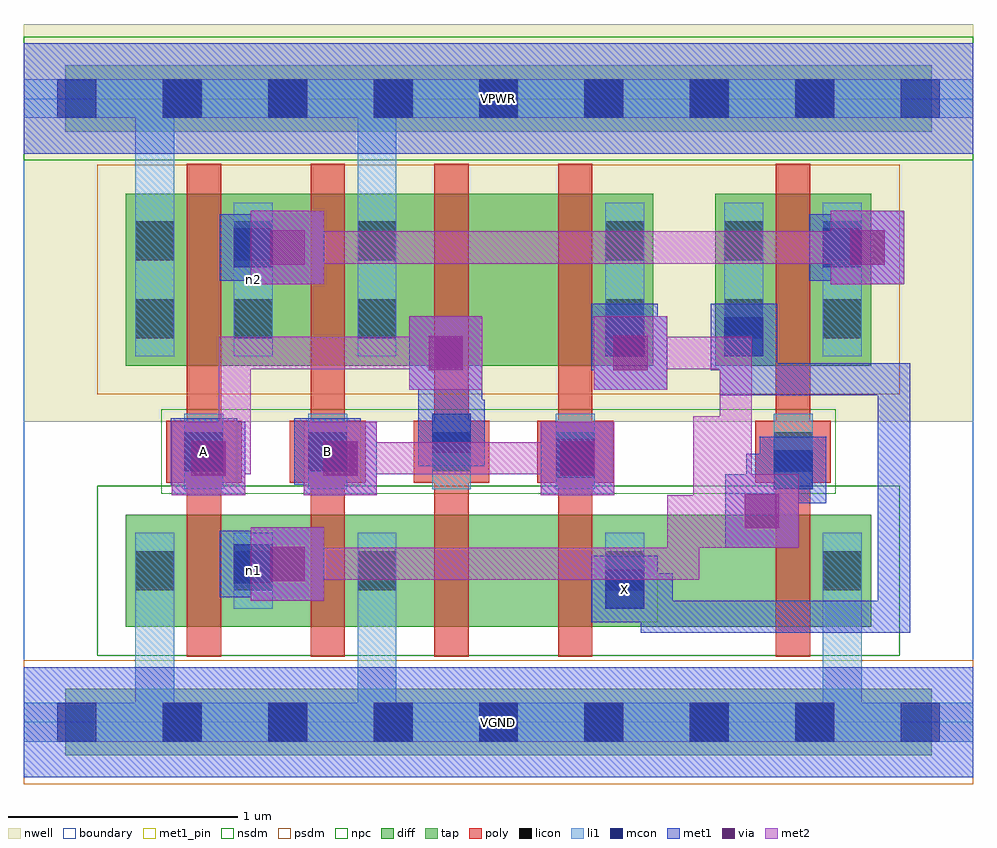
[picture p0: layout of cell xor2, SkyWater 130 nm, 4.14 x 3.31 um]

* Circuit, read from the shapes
.subckt xor2 A B VGND VPWR X n1 n2
XM1 n1 A VGND VGND sky130_fd_pr__nfet_01v8 w=0.49 l=0.15
XM2 VGND B n1 VGND sky130_fd_pr__nfet_01v8 w=0.49 l=0.15
XM3 n3 A VGND VGND sky130_fd_pr__nfet_01v8 w=0.49 l=0.15
XM4 X B n3 VGND sky130_fd_pr__nfet_01v8 w=0.49 l=0.15
XM5 VGND n1 X VGND sky130_fd_pr__nfet_01v8 w=0.49 l=0.15
XM6 n2 A VPWR VPWR sky130_fd_pr__pfet_01v8 w=0.75 l=0.15
XM7 VPWR B n2 VPWR sky130_fd_pr__pfet_01v8 w=0.75 l=0.15
XM8 n4 A VPWR VPWR sky130_fd_pr__pfet_01v8 w=0.75 l=0.15
XM9 n1 B n4 VPWR sky130_fd_pr__pfet_01v8 w=0.75 l=0.15
XM10 n2 n1 X VPWR sky130_fd_pr__pfet_01v8 w=0.75 l=0.15
.ends

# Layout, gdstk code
import gdstk
lib = gdstk.Library(unit=1e-6, precision=1e-09)
def R(c, l, rs):  # rectangles x0, y0, x1, y1
    for r in rs: c.add(gdstk.rectangle(r[:2], r[2:], *l))
def A(c, l, x, y, w, h, nx, ny, dx, dy):  # array of equal rectangles
    R(c, l, [(x+i*dx, y+j*dy, x+i*dx+w, y+j*dy+h) for i in range(nx) for j in range(ny)])
nwell = (64, 20)
diff = (65, 20)
tap = (65, 44)
poly = (66, 20)
licon = (66, 44)
li1 = (67, 20)
mcon = (67, 44)
met1_pin = (68, 16)
met1 = (68, 20)
via = (68, 44)
met2 = (69, 20)
nsdm = (93, 44)
psdm = (94, 20)
npc = (95, 20)
boundary = (235, 4)

xor2 = lib.new_cell('xor2')
R(xor2, nwell, [(0,1.31,4.14,3.045)])
R(xor2, diff, [(0.445,0.415,3.695,0.905), (0.445,1.555,2.745,2.305), (3.015,1.555,3.695,2.305)])
R(xor2, tap, [(0.18,-0.145,3.96,0.145), (0.18,2.575,3.96,2.865)])
A(xor2, poly, 0.71, 0.285, 0.15, 2.15, 4, 1, 0.54, 0)
A(xor2, poly, 0.62, 1.045, 0.33, 0.27, 4, 1, 0.54, 0)
R(xor2, poly, [(3.28,0.285,3.43,2.435), (3.19,1.045,3.52,1.315)])
A(xor2, licon, 0.605, -0.085, 0.17, 0.17, 7, 2, 0.46, 2.72)
A(xor2, licon, 0.7, 1.095, 0.17, 0.17, 4, 1, 0.54, 0)
R(xor2, licon, [(0.485,0.575,0.655,0.745), (0.915,0.575,1.085,0.745), (1.455,0.575,1.625,0.745), (2.535,0.575,2.705,0.745), (3.485,0.575,3.655,0.745), (3.27,1.095,3.44,1.265), (0.485,1.675,0.655,1.845), (0.915,1.675,1.085,1.845), (1.455,1.675,1.625,1.845), (2.535,1.675,2.705,1.845), (3.055,1.675,3.225,1.845), (3.485,1.675,3.655,1.845), (0.485,2.015,0.655,2.185), (0.915,2.015,1.085,2.185), (1.455,2.015,1.625,2.185), (2.535,2.015,2.705,2.185), (3.055,2.015,3.225,2.185), (3.485,2.015,3.655,2.185)])
A(xor2, li1, 0.7, 1.015, 0.17, 0.33, 4, 1, 0.54, 0)
R(xor2, li1, [(0,-0.085,4.14,0.085), (0.485,-0.085,0.655,0.825), (1.455,-0.085,1.625,0.825), (3.485,-0.085,3.655,0.825), (0.485,0.495,0.655,0.825), (0.915,0.495,1.085,0.825), (1.455,0.495,1.625,0.825), (2.535,0.495,2.705,0.825), (3.485,0.495,3.655,0.825), (3.27,1.015,3.44,1.345), (0.485,1.595,0.655,2.265), (0.485,1.595,0.655,2.805), (0.915,1.595,1.085,2.265), (1.455,1.595,1.625,2.265), (1.455,1.595,1.625,2.805), (2.535,1.595,2.705,2.265), (3.055,1.595,3.225,2.265), (3.485,1.595,3.655,2.265), (0,2.635,4.14,2.805)])
A(xor2, mcon, 0.145, -0.085, 0.17, 0.17, 9, 2, 0.46, 2.72)
R(xor2, mcon, [(2.535,0.495,2.705,0.665), (0.915,0.605,1.085,0.775), (3.27,1.015,3.44,1.185), (2.32,1.065,2.49,1.235), (0.7,1.095,0.87,1.265), (1.24,1.095,1.41,1.265), (1.78,1.175,1.95,1.345), (2.535,1.595,2.705,1.765), (3.055,1.595,3.225,1.765), (0.915,1.985,1.085,2.155), (3.485,1.985,3.655,2.155)])
R(xor2, met1_pin, [(0,-0.24,4.14,0.24), (2.475,0.435,2.765,0.725), (0.64,1.035,0.93,1.325), (1.18,1.035,1.47,1.325), (0,2.48,4.14,2.96)])
R(xor2, met1, [(0,-0.24,4.14,0.24), (2.69,0.39,2.83,0.65), (2.69,0.39,3.865,0.53), (3.725,0.39,3.865,1.565), (2.475,0.435,2.765,0.725), (2.55,0.51,2.83,0.65), (0.99,0.53,1.31,0.85), (0.855,0.545,1.145,0.835), (0.93,0.62,1.22,0.76), (3.06,0.76,3.38,1.08), (3.15,0.85,3.29,1.17), (3.21,0.955,3.5,1.245), (0.645,0.99,0.965,1.31), (1.22,0.99,1.54,1.31), (2.255,0.99,2.575,1.31), (2.26,1.005,2.55,1.295), (3.15,1.03,3.425,1.17), (0.64,1.035,0.93,1.325), (1.18,1.035,1.47,1.325), (0.735,1.08,0.875,1.22), (1.31,1.08,1.45,1.22), (2.335,1.08,2.485,1.22), (1.72,1.115,2.01,1.405), (1.77,1.19,1.935,1.33), (1.77,1.19,1.91,1.45), (1.77,1.31,1.91,1.68), (1.77,1.33,1.935,1.45), (1.72,1.405,2,1.45), (3.035,1.425,3.175,1.75), (3.035,1.425,3.865,1.565), (1.68,1.45,2,1.77), (2.485,1.45,2.805,1.77), (2.475,1.535,2.765,1.825), (2.995,1.535,3.285,1.825), (2.575,1.54,2.715,1.75), (2.55,1.61,2.715,1.75), (3.035,1.61,3.21,1.75), (0.99,1.91,1.31,2.23), (3.52,1.91,3.84,2.23), (0.855,1.925,1.145,2.215), (3.425,1.925,3.715,2.215), (0.93,2,1.22,2.14), (3.5,2,3.75,2.14), (0,2.48,4.14,2.96)])
R(xor2, via, [(1.075,0.615,1.225,0.765), (3.145,0.845,3.295,0.995), (0.73,1.075,0.88,1.225), (1.305,1.075,1.455,1.225), (2.34,1.075,2.49,1.225), (1.765,1.535,1.915,1.685), (2.57,1.535,2.72,1.685), (1.075,1.995,1.225,2.145), (3.605,1.995,3.755,2.145)])
R(xor2, met2, [(0.99,0.53,1.31,0.85), (1.08,0.62,2.945,0.76), (2.805,0.62,2.945,0.99), (2.945,0.76,3.06,0.99), (3.06,0.76,3.38,1.08), (2.805,0.85,3.29,0.99), (2.92,0.85,3.06,1.335), (0.645,0.99,0.965,1.31), (1.22,0.99,1.54,1.31), (2.255,0.99,2.575,1.31), (0.735,1.08,0.99,1.22), (0.85,1.08,0.99,1.68), (1.31,1.08,2.485,1.22), (3.06,1.08,3.175,1.195), (2.92,1.195,3.175,1.335), (3.035,1.195,3.175,1.68), (1.68,1.45,2,1.77), (2.485,1.45,2.805,1.77), (0.85,1.54,1.91,1.68), (2.575,1.54,3.175,1.68), (0.99,1.91,1.31,2.23), (3.52,1.91,3.84,2.23), (1.08,2,3.75,2.14)])
R(xor2, nsdm, [(0.32,0.29,3.82,1.03), (0,2.45,4.14,2.99)])
R(xor2, psdm, [(0,-0.27,4.14,0.27), (0.32,1.43,3.82,2.43)])
R(xor2, npc, [(0.6,0.995,3.54,1.365)])
R(xor2, boundary, [(0,0,4.14,2.72)])
xor2.add(gdstk.Label('n1', (1,0.66), layer=67, texttype=5))
xor2.add(gdstk.Label('n2', (1,1.93), layer=67, texttype=5))
xor2.add(gdstk.Label('A', (0.785,1.18), layer=68, texttype=5))
xor2.add(gdstk.Label('B', (1.325,1.18), layer=68, texttype=5))
xor2.add(gdstk.Label('X', (2.62,0.58), layer=68, texttype=5))
xor2.add(gdstk.Label('VPWR', (2.07,2.72), layer=68, texttype=5))
xor2.add(gdstk.Label('VGND', (2.07,0), layer=68, texttype=5))
xor2.add(gdstk.Label('A', (0.785,1.18), layer=68, texttype=16))
xor2.add(gdstk.Label('B', (1.325,1.18), layer=68, texttype=16))
xor2.add(gdstk.Label('X', (2.62,0.58), layer=68, texttype=16))
xor2.add(gdstk.Label('VPWR', (2.07,2.72), layer=68, texttype=16))
xor2.add(gdstk.Label('VGND', (2.07,0), layer=68, texttype=16))

lib.write_gds('xor2.gds')
